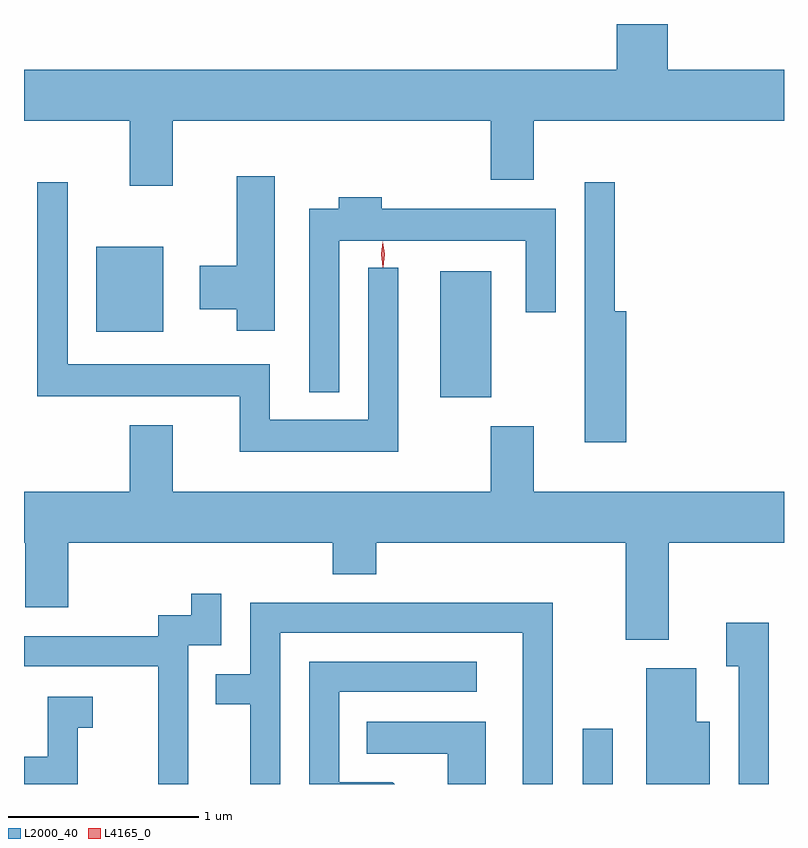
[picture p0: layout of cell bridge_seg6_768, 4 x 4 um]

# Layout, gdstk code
import gdstk
lib = gdstk.Library(unit=1e-6, precision=1e-09)
def R(c, l, rs):  # rectangles x0, y0, x1, y1
    for r in rs: c.add(gdstk.rectangle(r[:2], r[2:], *l))
def P(c, l, *ps):  # polygons
    for p in ps: c.add(gdstk.Polygon(p, *l))
L2000_40 = (2000, 40)
L4165_0 = (4165, 0)

bridge_seg6_768 = lib.new_cell('bridge_seg6_768')
R(bridge_seg6_768, L2000_40, [(493.136,1593.166,493.294,1593.458), (492.386,1595.201,492.654,1595.864), (490.576,1595.546,490.929,1595.994)])
P(bridge_seg6_768, L2000_40, [(490.979,1596.656),(492.651,1596.656),(492.651,1596.346),(492.879,1596.346),(492.879,1596.656),(494.195,1596.656),(494.195,1596.924),(493.584,1596.924),(493.584,1597.166),(493.316,1597.166),(493.316,1596.924),(490.195,1596.924),(490.195,1596.656),(490.751,1596.656),(490.751,1596.316),(490.979,1596.316)],
  [(491.514,1596.364),(491.316,1596.364),(491.316,1595.894),(491.121,1595.894),(491.121,1595.666),(491.316,1595.666),(491.316,1595.551),(491.514,1595.551)],
  [(492.164,1595.883),(492.006,1595.883),(492.006,1595.084),(491.489,1595.084),(491.489,1595.374),(490.424,1595.374),(490.424,1596.333),(490.266,1596.333),(490.266,1595.206),(491.331,1595.206),(491.331,1594.916),(492.164,1594.916)],
  [(493.364,1595.654),(493.304,1595.654),(493.304,1596.333),(493.146,1596.333),(493.146,1594.966),(493.364,1594.966)],
  [(491.854,1596.026),(492.836,1596.026),(492.836,1595.648),(492.994,1595.648),(492.994,1596.194),(492.079,1596.194),(492.079,1596.254),(491.851,1596.254),(491.851,1596.194),(491.696,1596.194),(491.696,1595.228),(491.854,1595.228)],
  [(490.195,1594.436),(490.201,1594.436),(490.201,1594.096),(490.429,1594.096),(490.429,1594.436),(491.821,1594.436),(491.821,1594.271),(492.049,1594.271),(492.049,1594.436),(493.361,1594.436),(493.361,1593.926),(493.589,1593.926),(493.589,1594.436),(494.195,1594.436),(494.195,1594.704),(492.879,1594.704),(492.879,1595.049),(492.651,1595.049),(492.651,1594.704),(490.979,1594.704),(490.979,1595.054),(490.751,1595.054),(490.751,1594.704),(490.195,1594.704)],
  [(491.059,1593.896),(491.234,1593.896),(491.234,1594.168),(491.076,1594.168),(491.076,1594.054),(490.901,1594.054),(490.901,1593.944),(490.195,1593.944),(490.195,1593.786),(490.901,1593.786),(490.901,1593.166),(491.059,1593.166)],
  [(491.544,1593.961),(492.821,1593.961),(492.821,1593.166),(492.979,1593.166),(492.979,1594.119),(491.386,1594.119),(491.386,1593.744),(491.203,1593.744),(491.203,1593.586),(491.386,1593.586),(491.386,1593.166),(491.544,1593.166)],
  [(494.114,1594.014),(493.891,1594.014),(493.891,1593.786),(493.956,1593.786),(493.956,1593.166),(494.114,1593.166)],
  [(492.137,1593.174),(491.854,1593.174),(491.854,1593.651),(492.578,1593.651),(492.578,1593.809),(491.696,1593.809),(491.696,1593.166),(492.145,1593.166)],
  [(493.804,1593.494),(493.734,1593.494),(493.734,1593.774),(493.471,1593.774),(493.471,1593.166),(493.804,1593.166)],
  [(490.479,1593.461),(490.558,1593.461),(490.558,1593.624),(490.321,1593.624),(490.321,1593.309),(490.195,1593.309),(490.195,1593.166),(490.479,1593.166)],
  [(492.624,1593.494),(491.998,1593.494),(491.998,1593.326),(492.426,1593.326),(492.426,1593.166),(492.624,1593.166)])
P(bridge_seg6_768, L4165_0, [(492.084,1595.887),(492.084,1595.887),(492.074,1595.954),(492.083,1596.02),(492.084,1596.02),(492.084,1596.02),(492.094,1595.954),(492.085,1595.887)])

lib.write_gds('bridge_seg6_768.gds')
